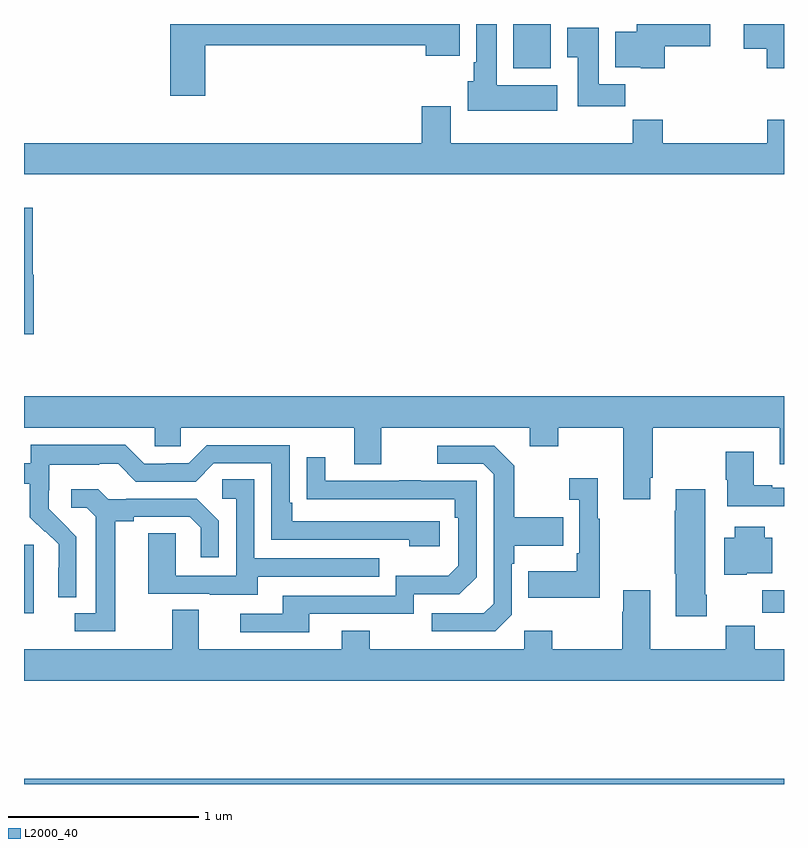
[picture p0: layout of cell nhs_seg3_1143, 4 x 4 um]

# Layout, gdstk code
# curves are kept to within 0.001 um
import gdstk
lib = gdstk.Library(unit=1e-6, precision=1e-09)
def R(c, l, rs):  # rectangles x0, y0, x1, y1
    for r in rs: c.add(gdstk.rectangle(r[:2], r[2:], *l))
def P(c, l, *ps):  # polygons
    for p in ps: c.add(gdstk.Polygon(p, *l))
L2000_40 = (2000, 40)

nhs_seg3_1143 = lib.new_cell('nhs_seg3_1143')
R(nhs_seg3_1143, L2000_40, [(171,672.4,175,672.428), (171,673.298,171.052,673.659), (174.886,673.302,175,673.42), (173.576,676.166,173.773,676.4)])
P(nhs_seg3_1143, L2000_40, [(174.372,676.283),(174.613,676.283),(174.613,676.4),(174.224,676.4),(174.224,676.36),(174.113,676.36),(174.113,676.172),(174.246,676.172),(174.246,676.166),(174.372,676.166)],
  [(175,676.4),(174.789,676.4),(174.789,676.27),(174.908,676.27),(174.908,676.166),(175,676.166)],
  [(171.953,676.288),(173.114,676.288),(173.114,676.232),(173.293,676.232),(173.293,676.4),(171.77,676.4),(171.77,676.023),(171.953,676.023)],
  [(173.806,676.078),(173.488,676.078),(173.488,676.4),(173.381,676.4),(173.381,676.198),(173.366,676.198),(173.366,676.098),(173.336,676.098),(173.336,675.944),(173.806,675.944)],
  [(174.164,676.084),(174.025,676.084),(174.025,676.381),(173.858,676.381),(173.858,676.225),(173.915,676.225),(173.915,675.966),(174.164,675.966)],
  [(175,675.896),(174.911,675.896),(174.911,675.772),(174.362,675.772),(174.362,675.896),(174.205,675.896),(174.205,675.772),(173.245,675.772),(173.245,675.967),(173.093,675.967),(173.093,675.772),(171,675.772),(171,675.608),(175,675.608)],
  [(171.052,675.081),(171.047,675.081),(171.047,675.433),(171,675.433),(171,674.766),(171.052,674.766)],
  [(174.295,674.011),(174.308,674.011),(174.308,674.276),(174.977,674.276),(174.977,674.082),(175,674.082),(175,674.44),(171,674.44),(171,674.276),(171.687,674.276),(171.687,674.178),(171.825,674.178),(171.825,674.276),(172.739,674.276),(172.739,674.082),(172.879,674.082),(172.879,674.276),(173.663,674.276),(173.663,674.177),(173.811,674.177),(173.811,674.276),(174.155,674.276),(174.155,673.899),(174.295,673.899)],
  [(171.276,673.702),(171.13,673.85),(171.13,673.947),(171.132,673.947),(171.132,674.081),(171.395,674.081),(171.395,674.085),(171.495,674.085),(171.588,673.992),(171.903,673.992),(171.999,674.088),(172.302,674.088),(172.302,673.686),(173.027,673.686),(173.027,673.652),(173.188,673.652),(173.188,673.782),(172.411,673.782),(172.411,673.879),(172.398,673.879),(172.398,674.184),(171.963,674.184),(171.867,674.088),(171.749,674.088),(171.749,674.085),(171.633,674.085),(171.533,674.185),(171.036,674.185),(171.036,674.088),(171,674.088),(171,673.98),(171.031,673.98),(171.031,673.805),(171.108,673.728),(171.111,673.731),(171.182,673.661),(171.182,673.538),(171.18,673.538),(171.18,673.384),(171.276,673.384)],
  [(173.568,673.29),(173.568,673.559),(173.581,673.559),(173.581,673.655),(173.837,673.655),(173.837,673.803),(173.581,673.803),(173.581,674.075),(173.475,674.181),(173.175,674.181),(173.175,674.085),(173.418,674.085),(173.472,674.031),(173.472,673.35),(173.421,673.299),(173.145,673.299),(173.145,673.203),(173.481,673.203)],
  [(175,673.959),(174.937,673.959),(174.937,673.972),(174.841,673.972),(174.841,674.149),(174.694,674.149),(174.694,674.001),(174.701,674.001),(174.701,673.863),(175,673.863)],
  [(172.501,673.296),(173.052,673.296),(173.052,673.398),(173.292,673.398),(173.382,673.488),(173.382,673.995),(173.087,673.995),(173.087,674),(172.975,674),(172.975,673.995),(172.585,673.995),(172.585,674.119),(172.489,674.119),(172.489,673.9),(173.266,673.899),(173.266,673.802),(173.286,673.802),(173.286,673.548),(173.233,673.495),(172.956,673.495),(172.956,673.392),(172.361,673.392),(172.361,673.296),(172.137,673.296),(172.137,673.2),(172.501,673.2)],
  [(174.031,673.795),(174.019,673.795),(174.019,674.008),(173.871,674.008),(173.871,673.895),(173.922,673.895),(173.922,673.615),(173.91,673.615),(173.91,673.519),(173.653,673.519),(173.653,673.379),(174.031,673.379)],
  [(172.231,673.491),(172.871,673.491),(172.871,673.587),(172.212,673.587),(172.212,674.003),(172.044,674.003),(172.044,673.902),(172.116,673.902),(172.116,673.497),(171.798,673.497),(171.798,673.721),(171.653,673.721),(171.653,673.401),(171.977,673.401),(171.977,673.397),(172.231,673.397)],
  [(171.481,673.784),(171.577,673.784),(171.577,673.806),(171.872,673.806),(171.929,673.749),(171.929,673.593),(172.026,673.593),(172.026,673.786),(171.91,673.902),(171.538,673.902),(171.538,673.899),(171.444,673.899),(171.392,673.951),(171.249,673.951),(171.249,673.854),(171.33,673.854),(171.377,673.807),(171.377,673.299),(171.267,673.299),(171.267,673.203),(171.481,673.203)],
  [(174.594,673.396),(174.586,673.396),(174.586,673.951),(174.431,673.951),(174.431,673.838),(174.424,673.838),(174.424,673.507),(174.431,673.507),(174.431,673.284),(174.594,673.284)],
  [(174.804,673.508),(174.937,673.508),(174.937,673.696),(174.898,673.696),(174.898,673.753),(174.74,673.753),(174.74,673.696),(174.686,673.696),(174.686,673.502),(174.804,673.502)],
  [(175,673.108),(174.845,673.108),(174.845,673.232),(174.694,673.232),(174.694,673.108),(174.295,673.108),(174.295,673.42),(174.155,673.42),(174.155,673.307),(174.148,673.307),(174.148,673.108),(173.781,673.108),(173.781,673.207),(173.634,673.207),(173.634,673.108),(172.821,673.108),(172.821,673.207),(172.673,673.207),(172.673,673.108),(171.919,673.108),(171.919,673.316),(171.779,673.316),(171.779,673.108),(171,673.108),(171,672.944),(175,672.944)])

lib.write_gds('nhs_seg3_1143.gds')
